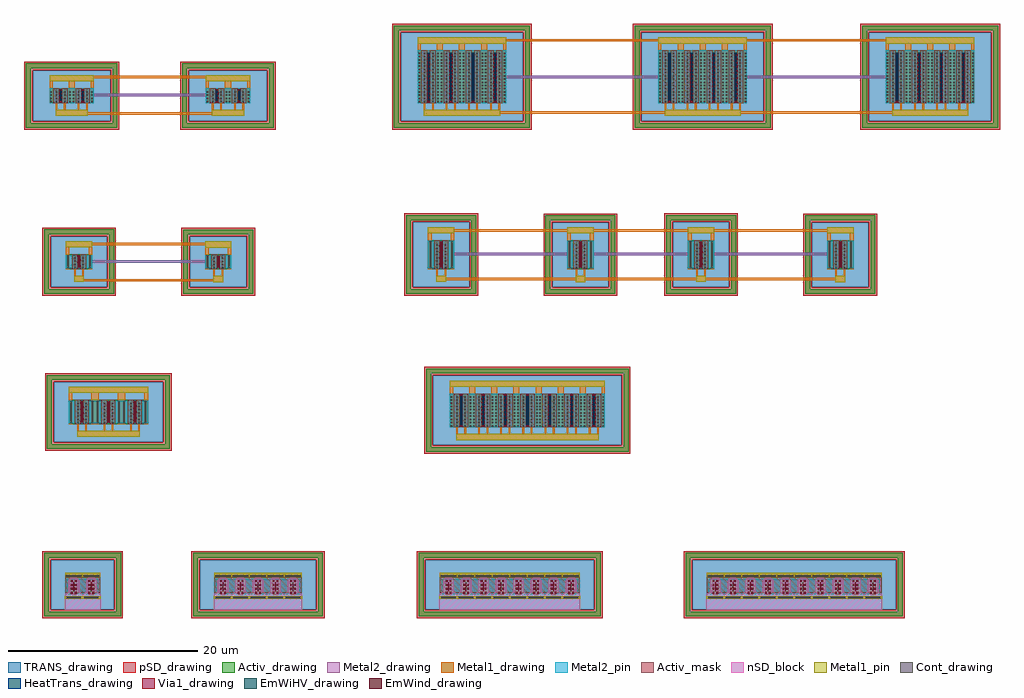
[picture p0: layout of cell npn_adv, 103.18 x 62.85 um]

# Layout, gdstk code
import gdstk
lib = gdstk.Library(unit=1e-6, precision=1e-09)
def R(c, l, rs):  # rectangles x0, y0, x1, y1
    for r in rs: c.add(gdstk.rectangle(r[:2], r[2:], *l))
def A(c, l, x, y, w, h, nx, ny, dx, dy):  # array of equal rectangles
    R(c, l, [(x+i*dx, y+j*dy, x+i*dx+w, y+j*dy+h) for i in range(nx) for j in range(ny)])
def P(c, l, *ps):  # polygons
    for p in ps: c.add(gdstk.Polygon(p, *l))
Activ_drawing = (1, 0)
Activ_mask = (1, 20)
Cont_drawing = (6, 0)
nSD_block = (7, 21)
Metal1_drawing = (8, 0)
Metal1_pin = (8, 2)
Metal2_drawing = (10, 0)
Metal2_pin = (10, 2)
pSD_drawing = (14, 0)
Via1_drawing = (19, 0)
TRANS_drawing = (26, 0)
EmWind_drawing = (33, 0)
HeatTrans_drawing = (51, 0)
EmWiHV_drawing = (156, 0)

npn13g2l_1 = lib.new_cell('npn13G2L$1')
R(npn13g2l_1, Activ_drawing, [(2.5,2.82,3.16,5.88), (3.77,2.82,4.03,5.88), (4.64,2.82,5.3,5.88)])
P(npn13g2l_1, Activ_drawing, [(0.2,0.2),(0.2,8),(0.7,8),(0.7,0.7),(7.1,0.7),(7.1,8),(0.2,8),(0.2,8.5),(7.6,8.5),(7.6,0.2)])
R(npn13g2l_1, Activ_mask, [(3.16,2.82,3.77,5.88), (4.03,2.82,4.64,5.88)])
A(npn13g2l_1, Cont_drawing, 3.385, 2.89, 0.16, 0.16, 1, 8, 0, 0.34)
A(npn13g2l_1, Cont_drawing, 4.255, 2.89, 0.16, 0.16, 1, 8, 0, 0.34)
A(npn13g2l_1, Cont_drawing, 2.68, 2.95, 0.16, 2.8, 3, 1, 1.14, 0)
R(npn13g2l_1, Metal1_drawing, [(3.385,1.45,4.415,2.1), (3.385,2.1,3.545,5.88), (4.255,2.1,4.415,5.88), (2.5,2.82,2.89,6.6), (4.91,2.82,5.3,6.6), (3.77,2.9,4.03,5.8), (2.5,6.6,5.3,7.25)])
R(npn13g2l_1, Metal1_pin, [(3.385,1.45,4.415,2.1), (2.5,6.6,5.3,7.25)])
R(npn13g2l_1, Metal2_drawing, [(2.5,2.9,5.3,5.8)])
R(npn13g2l_1, Metal2_pin, [(2.5,2.9,5.3,5.8)])
P(npn13g2l_1, pSD_drawing, [(0,0),(0,7.8),(0.9,7.8),(0.9,0.9),(6.9,0.9),(6.9,7.8),(0,7.8),(0,8.7),(7.8,8.7),(7.8,0)])
R(npn13g2l_1, Via1_drawing, [(3.805,3,3.995,5.7)])
R(npn13g2l_1, TRANS_drawing, [(0.9,0.9,6.9,7.8)])
R(npn13g2l_1, EmWind_drawing, [(3.865,3.1,3.935,5.6)])
R(npn13g2l_1, HeatTrans_drawing, [(3.815,3.05,3.985,5.65)])
npn13g2l_1.add(gdstk.Label('Ae=1*1*2.50*0.07', (1.5,1), layer=63, texttype=0))
npn13g2l_1.add(gdstk.Label('npn13G2L', (1.75,1), layer=63, texttype=0))
npn13g2l_1.add(gdstk.Label('C', (3.9,6.925), layer=63, texttype=0))
npn13g2l_1.add(gdstk.Label('B', (3.9,1.775), layer=63, texttype=0))
npn13g2l_1.add(gdstk.Label('E', (3.9,4.35), layer=63, texttype=0))
npn13g2l_1.add(gdstk.Label('npn13G2L', (3.9,4.35), layer=51, texttype=0))

npn13g2_2 = lib.new_cell('npn13G2$2')
R(npn13g2_2, Activ_drawing, [(-0.925,0.98,0.925,1.28), (0.925,0.98,2.775,1.28)])
P(npn13g2_2, Activ_drawing, [(-3.15,-3.13),(-3.15,3.58),(4.5,3.58),(4.5,3.08),(-2.65,3.08),(-2.65,-2.63),(4.5,-2.63),(4.5,3.58),(5,3.58),(5,-3.13)])
P(npn13g2_2, Activ_mask, [(-0.235,-0.83),(-0.445,-0.62),(-0.925,-0.62),(-0.925,0.98),(0.925,0.98),(0.925,-0.62),(0.445,-0.62),(0.235,-0.83)],
  [(1.615,-0.83),(1.405,-0.62),(0.925,-0.62),(0.925,0.98),(2.775,0.98),(2.775,-0.62),(2.295,-0.62),(2.085,-0.83)])
R(npn13g2_2, Cont_drawing, [(-0.76,-1.22,0.76,-1.06), (1.09,-1.22,2.61,-1.06), (-0.825,1.05,0.825,1.21), (1.025,1.05,2.675,1.21)])
P(npn13g2_2, nSD_block, [(-0.975,-2.43),(-0.975,-0.9),(-0.555,-0.48),(-0.555,0.69),(-0.305,0.94),(0.305,0.94),(0.555,0.69),(0.555,-0.48),(0.975,-0.9),(0.975,-2.43)],
  [(0.875,-2.43),(0.875,-0.9),(1.295,-0.48),(1.295,0.69),(1.545,0.94),(2.155,0.94),(2.405,0.69),(2.405,-0.48),(2.825,-0.9),(2.825,-2.43)])
R(npn13g2_2, Metal1_drawing, [(-0.975,-1.26,2.825,-1.02), (-0.35,-0.785,0.35,0.77), (1.5,-0.785,2.2,0.77), (-0.925,1.02,2.775,1.46)])
R(npn13g2_2, Metal1_pin, [(-0.975,-1.26,2.825,-1.02), (-0.925,1.02,2.775,1.46)])
R(npn13g2_2, Metal2_drawing, [(-0.925,-0.785,2.775,0.77)])
R(npn13g2_2, Metal2_pin, [(-0.745,-0.785,2.595,0.77)])
P(npn13g2_2, pSD_drawing, [(-3.35,-3.33),(-3.35,3.78),(4.3,3.78),(4.3,2.88),(-2.45,2.88),(-2.45,-2.43),(4.3,-2.43),(4.3,3.78),(5.2,3.78),(5.2,-3.33)])
A(npn13g2_2, Via1_drawing, -0.3, -0.72, 0.19, 0.19, 1, 4, 0, 0.41)
A(npn13g2_2, Via1_drawing, 0.11, -0.72, 0.19, 0.19, 1, 4, 0, 0.41)
A(npn13g2_2, Via1_drawing, 1.55, -0.72, 0.19, 0.19, 1, 4, 0, 0.41)
A(npn13g2_2, Via1_drawing, 1.96, -0.72, 0.19, 0.19, 1, 4, 0, 0.41)
R(npn13g2_2, TRANS_drawing, [(-2.45,-2.43,4.3,2.88)])
R(npn13g2_2, EmWind_drawing, [(-0.035,-0.45,0.035,0.45), (1.815,-0.45,1.885,0.45)])
npn13g2_2.add(gdstk.Label('npn13G2', (0.015,2.31), layer=63, texttype=0))
npn13g2_2.add(gdstk.Label('C', (0.925,1.24), layer=63, texttype=0))
npn13g2_2.add(gdstk.Label('B', (0.925,-1.14), layer=63, texttype=0))
npn13g2_2.add(gdstk.Label('E', (0.925,-0.007), layer=63, texttype=0))
npn13g2_2.add(gdstk.Label('Ae=2*1*0.07*0.90', (-1.977,-2.546), layer=63, texttype=0))

npn13g2 = lib.new_cell('npn13G2')
A(npn13g2, Activ_drawing, -0.925, 0.98, 1.85, 0.3, 5, 1, 1.85, 0)
P(npn13g2, Activ_drawing, [(-3.15,-3.13),(-3.15,3.58),(10.05,3.58),(10.05,3.08),(-2.65,3.08),(-2.65,-2.63),(10.05,-2.63),(10.05,3.58),(10.55,3.58),(10.55,-3.13)])
P(npn13g2, Activ_mask, [(-0.235,-0.83),(-0.445,-0.62),(-0.925,-0.62),(-0.925,0.98),(0.925,0.98),(0.925,-0.62),(0.445,-0.62),(0.235,-0.83)],
  [(1.615,-0.83),(1.405,-0.62),(0.925,-0.62),(0.925,0.98),(2.775,0.98),(2.775,-0.62),(2.295,-0.62),(2.085,-0.83)],
  [(3.465,-0.83),(3.255,-0.62),(2.775,-0.62),(2.775,0.98),(4.625,0.98),(4.625,-0.62),(4.145,-0.62),(3.935,-0.83)],
  [(5.315,-0.83),(5.105,-0.62),(4.625,-0.62),(4.625,0.98),(6.475,0.98),(6.475,-0.62),(5.995,-0.62),(5.785,-0.83)],
  [(7.165,-0.83),(6.955,-0.62),(6.475,-0.62),(6.475,0.98),(8.325,0.98),(8.325,-0.62),(7.845,-0.62),(7.635,-0.83)])
A(npn13g2, Cont_drawing, -0.76, -1.22, 1.52, 0.16, 5, 1, 1.85, 0)
A(npn13g2, Cont_drawing, -0.825, 1.05, 1.65, 0.16, 5, 1, 1.85, 0)
P(npn13g2, nSD_block, [(-0.975,-2.43),(-0.975,-0.9),(-0.555,-0.48),(-0.555,0.69),(-0.305,0.94),(0.305,0.94),(0.555,0.69),(0.555,-0.48),(0.975,-0.9),(0.975,-2.43)],
  [(0.875,-2.43),(0.875,-0.9),(1.295,-0.48),(1.295,0.69),(1.545,0.94),(2.155,0.94),(2.405,0.69),(2.405,-0.48),(2.825,-0.9),(2.825,-2.43)],
  [(2.725,-2.43),(2.725,-0.9),(3.145,-0.48),(3.145,0.69),(3.395,0.94),(4.005,0.94),(4.255,0.69),(4.255,-0.48),(4.675,-0.9),(4.675,-2.43)],
  [(4.575,-2.43),(4.575,-0.9),(4.995,-0.48),(4.995,0.69),(5.245,0.94),(5.855,0.94),(6.105,0.69),(6.105,-0.48),(6.525,-0.9),(6.525,-2.43)],
  [(6.425,-2.43),(6.425,-0.9),(6.845,-0.48),(6.845,0.69),(7.095,0.94),(7.705,0.94),(7.955,0.69),(7.955,-0.48),(8.375,-0.9),(8.375,-2.43)])
A(npn13g2, Metal1_drawing, -0.35, -0.785, 0.7, 1.555, 5, 1, 1.85, 0)
R(npn13g2, Metal1_drawing, [(-0.975,-1.26,8.375,-1.02), (-0.925,1.02,8.325,1.46)])
R(npn13g2, Metal1_pin, [(-0.975,-1.26,8.375,-1.02), (-0.925,1.02,8.325,1.46)])
R(npn13g2, Metal2_drawing, [(-0.925,-0.785,8.325,0.77)])
R(npn13g2, Metal2_pin, [(-0.745,-0.785,8.145,0.77)])
P(npn13g2, pSD_drawing, [(-3.35,-3.33),(-3.35,3.78),(9.85,3.78),(9.85,2.88),(-2.45,2.88),(-2.45,-2.43),(9.85,-2.43),(9.85,3.78),(10.75,3.78),(10.75,-3.33)])
A(npn13g2, Via1_drawing, -0.3, -0.72, 0.19, 0.19, 1, 4, 0, 0.41)
A(npn13g2, Via1_drawing, 0.11, -0.72, 0.19, 0.19, 1, 4, 0, 0.41)
A(npn13g2, Via1_drawing, 1.55, -0.72, 0.19, 0.19, 1, 4, 0, 0.41)
A(npn13g2, Via1_drawing, 1.96, -0.72, 0.19, 0.19, 1, 4, 0, 0.41)
A(npn13g2, Via1_drawing, 3.4, -0.72, 0.19, 0.19, 1, 4, 0, 0.41)
A(npn13g2, Via1_drawing, 3.81, -0.72, 0.19, 0.19, 1, 4, 0, 0.41)
A(npn13g2, Via1_drawing, 5.25, -0.72, 0.19, 0.19, 1, 4, 0, 0.41)
A(npn13g2, Via1_drawing, 5.66, -0.72, 0.19, 0.19, 1, 4, 0, 0.41)
A(npn13g2, Via1_drawing, 7.1, -0.72, 0.19, 0.19, 1, 4, 0, 0.41)
A(npn13g2, Via1_drawing, 7.51, -0.72, 0.19, 0.19, 1, 4, 0, 0.41)
R(npn13g2, TRANS_drawing, [(-2.45,-2.43,9.85,2.88)])
A(npn13g2, EmWind_drawing, -0.035, -0.45, 0.07, 0.9, 5, 1, 1.85, 0)
npn13g2.add(gdstk.Label('npn13G2', (0.015,2.31), layer=63, texttype=0))
npn13g2.add(gdstk.Label('C', (3.7,1.24), layer=63, texttype=0))
npn13g2.add(gdstk.Label('B', (3.7,-1.14), layer=63, texttype=0))
npn13g2.add(gdstk.Label('E', (3.7,-0.007), layer=63, texttype=0))
npn13g2.add(gdstk.Label('Ae=5*1*0.07*0.90', (-1.977,-2.546), layer=63, texttype=0))

npn13g2_3 = lib.new_cell('npn13G2$3')
A(npn13g2_3, Activ_drawing, -0.925, 0.98, 1.85, 0.3, 8, 1, 1.85, 0)
P(npn13g2_3, Activ_drawing, [(-3.15,-3.13),(-3.15,3.58),(15.6,3.58),(15.6,3.08),(-2.65,3.08),(-2.65,-2.63),(15.6,-2.63),(15.6,3.58),(16.1,3.58),(16.1,-3.13)])
P(npn13g2_3, Activ_mask, [(-0.235,-0.83),(-0.445,-0.62),(-0.925,-0.62),(-0.925,0.98),(0.925,0.98),(0.925,-0.62),(0.445,-0.62),(0.235,-0.83)],
  [(1.615,-0.83),(1.405,-0.62),(0.925,-0.62),(0.925,0.98),(2.775,0.98),(2.775,-0.62),(2.295,-0.62),(2.085,-0.83)],
  [(3.465,-0.83),(3.255,-0.62),(2.775,-0.62),(2.775,0.98),(4.625,0.98),(4.625,-0.62),(4.145,-0.62),(3.935,-0.83)],
  [(5.315,-0.83),(5.105,-0.62),(4.625,-0.62),(4.625,0.98),(6.475,0.98),(6.475,-0.62),(5.995,-0.62),(5.785,-0.83)],
  [(7.165,-0.83),(6.955,-0.62),(6.475,-0.62),(6.475,0.98),(8.325,0.98),(8.325,-0.62),(7.845,-0.62),(7.635,-0.83)],
  [(9.015,-0.83),(8.805,-0.62),(8.325,-0.62),(8.325,0.98),(10.175,0.98),(10.175,-0.62),(9.695,-0.62),(9.485,-0.83)],
  [(10.865,-0.83),(10.655,-0.62),(10.175,-0.62),(10.175,0.98),(12.025,0.98),(12.025,-0.62),(11.545,-0.62),(11.335,-0.83)],
  [(12.715,-0.83),(12.505,-0.62),(12.025,-0.62),(12.025,0.98),(13.875,0.98),(13.875,-0.62),(13.395,-0.62),(13.185,-0.83)])
A(npn13g2_3, Cont_drawing, -0.76, -1.22, 1.52, 0.16, 8, 1, 1.85, 0)
A(npn13g2_3, Cont_drawing, -0.825, 1.05, 1.65, 0.16, 8, 1, 1.85, 0)
P(npn13g2_3, nSD_block, [(-0.975,-2.43),(-0.975,-0.9),(-0.555,-0.48),(-0.555,0.69),(-0.305,0.94),(0.305,0.94),(0.555,0.69),(0.555,-0.48),(0.975,-0.9),(0.975,-2.43)],
  [(0.875,-2.43),(0.875,-0.9),(1.295,-0.48),(1.295,0.69),(1.545,0.94),(2.155,0.94),(2.405,0.69),(2.405,-0.48),(2.825,-0.9),(2.825,-2.43)],
  [(2.725,-2.43),(2.725,-0.9),(3.145,-0.48),(3.145,0.69),(3.395,0.94),(4.005,0.94),(4.255,0.69),(4.255,-0.48),(4.675,-0.9),(4.675,-2.43)],
  [(4.575,-2.43),(4.575,-0.9),(4.995,-0.48),(4.995,0.69),(5.245,0.94),(5.855,0.94),(6.105,0.69),(6.105,-0.48),(6.525,-0.9),(6.525,-2.43)],
  [(6.425,-2.43),(6.425,-0.9),(6.845,-0.48),(6.845,0.69),(7.095,0.94),(7.705,0.94),(7.955,0.69),(7.955,-0.48),(8.375,-0.9),(8.375,-2.43)],
  [(8.275,-2.43),(8.275,-0.9),(8.695,-0.48),(8.695,0.69),(8.945,0.94),(9.555,0.94),(9.805,0.69),(9.805,-0.48),(10.225,-0.9),(10.225,-2.43)],
  [(10.125,-2.43),(10.125,-0.9),(10.545,-0.48),(10.545,0.69),(10.795,0.94),(11.405,0.94),(11.655,0.69),(11.655,-0.48),(12.075,-0.9),(12.075,-2.43)],
  [(11.975,-2.43),(11.975,-0.9),(12.395,-0.48),(12.395,0.69),(12.645,0.94),(13.255,0.94),(13.505,0.69),(13.505,-0.48),(13.925,-0.9),(13.925,-2.43)])
A(npn13g2_3, Metal1_drawing, -0.35, -0.785, 0.7, 1.555, 8, 1, 1.85, 0)
R(npn13g2_3, Metal1_drawing, [(-0.975,-1.26,13.925,-1.02), (-0.925,1.02,13.875,1.46)])
R(npn13g2_3, Metal1_pin, [(-0.975,-1.26,13.925,-1.02), (-0.925,1.02,13.875,1.46)])
R(npn13g2_3, Metal2_drawing, [(-0.925,-0.785,13.875,0.77)])
R(npn13g2_3, Metal2_pin, [(-0.745,-0.785,13.695,0.77)])
P(npn13g2_3, pSD_drawing, [(-3.35,-3.33),(-3.35,3.78),(15.4,3.78),(15.4,2.88),(-2.45,2.88),(-2.45,-2.43),(15.4,-2.43),(15.4,3.78),(16.3,3.78),(16.3,-3.33)])
A(npn13g2_3, Via1_drawing, -0.3, -0.72, 0.19, 0.19, 1, 4, 0, 0.41)
A(npn13g2_3, Via1_drawing, 0.11, -0.72, 0.19, 0.19, 1, 4, 0, 0.41)
A(npn13g2_3, Via1_drawing, 1.55, -0.72, 0.19, 0.19, 1, 4, 0, 0.41)
A(npn13g2_3, Via1_drawing, 1.96, -0.72, 0.19, 0.19, 1, 4, 0, 0.41)
A(npn13g2_3, Via1_drawing, 3.4, -0.72, 0.19, 0.19, 1, 4, 0, 0.41)
A(npn13g2_3, Via1_drawing, 3.81, -0.72, 0.19, 0.19, 1, 4, 0, 0.41)
A(npn13g2_3, Via1_drawing, 5.25, -0.72, 0.19, 0.19, 1, 4, 0, 0.41)
A(npn13g2_3, Via1_drawing, 5.66, -0.72, 0.19, 0.19, 1, 4, 0, 0.41)
A(npn13g2_3, Via1_drawing, 7.1, -0.72, 0.19, 0.19, 1, 4, 0, 0.41)
A(npn13g2_3, Via1_drawing, 7.51, -0.72, 0.19, 0.19, 1, 4, 0, 0.41)
A(npn13g2_3, Via1_drawing, 8.95, -0.72, 0.19, 0.19, 1, 4, 0, 0.41)
A(npn13g2_3, Via1_drawing, 9.36, -0.72, 0.19, 0.19, 1, 4, 0, 0.41)
A(npn13g2_3, Via1_drawing, 10.8, -0.72, 0.19, 0.19, 1, 4, 0, 0.41)
A(npn13g2_3, Via1_drawing, 11.21, -0.72, 0.19, 0.19, 1, 4, 0, 0.41)
A(npn13g2_3, Via1_drawing, 12.65, -0.72, 0.19, 0.19, 1, 4, 0, 0.41)
A(npn13g2_3, Via1_drawing, 13.06, -0.72, 0.19, 0.19, 1, 4, 0, 0.41)
R(npn13g2_3, TRANS_drawing, [(-2.45,-2.43,15.4,2.88)])
A(npn13g2_3, EmWind_drawing, -0.035, -0.45, 0.07, 0.9, 8, 1, 1.85, 0)
npn13g2_3.add(gdstk.Label('npn13G2', (0.015,2.31), layer=63, texttype=0))
npn13g2_3.add(gdstk.Label('C', (6.475,1.24), layer=63, texttype=0))
npn13g2_3.add(gdstk.Label('B', (6.475,-1.14), layer=63, texttype=0))
npn13g2_3.add(gdstk.Label('E', (6.475,-0.007), layer=63, texttype=0))
npn13g2_3.add(gdstk.Label('Ae=8*1*0.07*0.90', (-1.977,-2.546), layer=63, texttype=0))

npn13g2_4 = lib.new_cell('npn13G2$4')
A(npn13g2_4, Activ_drawing, -0.925, 0.98, 1.85, 0.3, 10, 1, 1.85, 0)
P(npn13g2_4, Activ_drawing, [(-3.15,-3.13),(-3.15,3.58),(19.3,3.58),(19.3,3.08),(-2.65,3.08),(-2.65,-2.63),(19.3,-2.63),(19.3,3.58),(19.8,3.58),(19.8,-3.13)])
P(npn13g2_4, Activ_mask, [(-0.235,-0.83),(-0.445,-0.62),(-0.925,-0.62),(-0.925,0.98),(0.925,0.98),(0.925,-0.62),(0.445,-0.62),(0.235,-0.83)],
  [(1.615,-0.83),(1.405,-0.62),(0.925,-0.62),(0.925,0.98),(2.775,0.98),(2.775,-0.62),(2.295,-0.62),(2.085,-0.83)],
  [(3.465,-0.83),(3.255,-0.62),(2.775,-0.62),(2.775,0.98),(4.625,0.98),(4.625,-0.62),(4.145,-0.62),(3.935,-0.83)],
  [(5.315,-0.83),(5.105,-0.62),(4.625,-0.62),(4.625,0.98),(6.475,0.98),(6.475,-0.62),(5.995,-0.62),(5.785,-0.83)],
  [(7.165,-0.83),(6.955,-0.62),(6.475,-0.62),(6.475,0.98),(8.325,0.98),(8.325,-0.62),(7.845,-0.62),(7.635,-0.83)],
  [(9.015,-0.83),(8.805,-0.62),(8.325,-0.62),(8.325,0.98),(10.175,0.98),(10.175,-0.62),(9.695,-0.62),(9.485,-0.83)],
  [(10.865,-0.83),(10.655,-0.62),(10.175,-0.62),(10.175,0.98),(12.025,0.98),(12.025,-0.62),(11.545,-0.62),(11.335,-0.83)],
  [(12.715,-0.83),(12.505,-0.62),(12.025,-0.62),(12.025,0.98),(13.875,0.98),(13.875,-0.62),(13.395,-0.62),(13.185,-0.83)],
  [(14.565,-0.83),(14.355,-0.62),(13.875,-0.62),(13.875,0.98),(15.725,0.98),(15.725,-0.62),(15.245,-0.62),(15.035,-0.83)],
  [(16.415,-0.83),(16.205,-0.62),(15.725,-0.62),(15.725,0.98),(17.575,0.98),(17.575,-0.62),(17.095,-0.62),(16.885,-0.83)])
A(npn13g2_4, Cont_drawing, -0.76, -1.22, 1.52, 0.16, 10, 1, 1.85, 0)
A(npn13g2_4, Cont_drawing, -0.825, 1.05, 1.65, 0.16, 10, 1, 1.85, 0)
P(npn13g2_4, nSD_block, [(-0.975,-2.43),(-0.975,-0.9),(-0.555,-0.48),(-0.555,0.69),(-0.305,0.94),(0.305,0.94),(0.555,0.69),(0.555,-0.48),(0.975,-0.9),(0.975,-2.43)],
  [(0.875,-2.43),(0.875,-0.9),(1.295,-0.48),(1.295,0.69),(1.545,0.94),(2.155,0.94),(2.405,0.69),(2.405,-0.48),(2.825,-0.9),(2.825,-2.43)],
  [(2.725,-2.43),(2.725,-0.9),(3.145,-0.48),(3.145,0.69),(3.395,0.94),(4.005,0.94),(4.255,0.69),(4.255,-0.48),(4.675,-0.9),(4.675,-2.43)],
  [(4.575,-2.43),(4.575,-0.9),(4.995,-0.48),(4.995,0.69),(5.245,0.94),(5.855,0.94),(6.105,0.69),(6.105,-0.48),(6.525,-0.9),(6.525,-2.43)],
  [(6.425,-2.43),(6.425,-0.9),(6.845,-0.48),(6.845,0.69),(7.095,0.94),(7.705,0.94),(7.955,0.69),(7.955,-0.48),(8.375,-0.9),(8.375,-2.43)],
  [(8.275,-2.43),(8.275,-0.9),(8.695,-0.48),(8.695,0.69),(8.945,0.94),(9.555,0.94),(9.805,0.69),(9.805,-0.48),(10.225,-0.9),(10.225,-2.43)],
  [(10.125,-2.43),(10.125,-0.9),(10.545,-0.48),(10.545,0.69),(10.795,0.94),(11.405,0.94),(11.655,0.69),(11.655,-0.48),(12.075,-0.9),(12.075,-2.43)],
  [(11.975,-2.43),(11.975,-0.9),(12.395,-0.48),(12.395,0.69),(12.645,0.94),(13.255,0.94),(13.505,0.69),(13.505,-0.48),(13.925,-0.9),(13.925,-2.43)],
  [(13.825,-2.43),(13.825,-0.9),(14.245,-0.48),(14.245,0.69),(14.495,0.94),(15.105,0.94),(15.355,0.69),(15.355,-0.48),(15.775,-0.9),(15.775,-2.43)],
  [(15.675,-2.43),(15.675,-0.9),(16.095,-0.48),(16.095,0.69),(16.345,0.94),(16.955,0.94),(17.205,0.69),(17.205,-0.48),(17.625,-0.9),(17.625,-2.43)])
A(npn13g2_4, Metal1_drawing, -0.35, -0.785, 0.7, 1.555, 10, 1, 1.85, 0)
R(npn13g2_4, Metal1_drawing, [(-0.975,-1.26,17.625,-1.02), (-0.925,1.02,17.575,1.46)])
R(npn13g2_4, Metal1_pin, [(-0.975,-1.26,17.625,-1.02), (-0.925,1.02,17.575,1.46)])
R(npn13g2_4, Metal2_drawing, [(-0.925,-0.785,17.575,0.77)])
R(npn13g2_4, Metal2_pin, [(-0.745,-0.785,17.395,0.77)])
P(npn13g2_4, pSD_drawing, [(-3.35,-3.33),(-3.35,3.78),(19.1,3.78),(19.1,2.88),(-2.45,2.88),(-2.45,-2.43),(19.1,-2.43),(19.1,3.78),(20,3.78),(20,-3.33)])
A(npn13g2_4, Via1_drawing, -0.3, -0.72, 0.19, 0.19, 1, 4, 0, 0.41)
A(npn13g2_4, Via1_drawing, 0.11, -0.72, 0.19, 0.19, 1, 4, 0, 0.41)
A(npn13g2_4, Via1_drawing, 1.55, -0.72, 0.19, 0.19, 1, 4, 0, 0.41)
A(npn13g2_4, Via1_drawing, 1.96, -0.72, 0.19, 0.19, 1, 4, 0, 0.41)
A(npn13g2_4, Via1_drawing, 3.4, -0.72, 0.19, 0.19, 1, 4, 0, 0.41)
A(npn13g2_4, Via1_drawing, 3.81, -0.72, 0.19, 0.19, 1, 4, 0, 0.41)
A(npn13g2_4, Via1_drawing, 5.25, -0.72, 0.19, 0.19, 1, 4, 0, 0.41)
A(npn13g2_4, Via1_drawing, 5.66, -0.72, 0.19, 0.19, 1, 4, 0, 0.41)
A(npn13g2_4, Via1_drawing, 7.1, -0.72, 0.19, 0.19, 1, 4, 0, 0.41)
A(npn13g2_4, Via1_drawing, 7.51, -0.72, 0.19, 0.19, 1, 4, 0, 0.41)
A(npn13g2_4, Via1_drawing, 8.95, -0.72, 0.19, 0.19, 1, 4, 0, 0.41)
A(npn13g2_4, Via1_drawing, 9.36, -0.72, 0.19, 0.19, 1, 4, 0, 0.41)
A(npn13g2_4, Via1_drawing, 10.8, -0.72, 0.19, 0.19, 1, 4, 0, 0.41)
A(npn13g2_4, Via1_drawing, 11.21, -0.72, 0.19, 0.19, 1, 4, 0, 0.41)
A(npn13g2_4, Via1_drawing, 12.65, -0.72, 0.19, 0.19, 1, 4, 0, 0.41)
A(npn13g2_4, Via1_drawing, 13.06, -0.72, 0.19, 0.19, 1, 4, 0, 0.41)
A(npn13g2_4, Via1_drawing, 14.5, -0.72, 0.19, 0.19, 1, 4, 0, 0.41)
A(npn13g2_4, Via1_drawing, 14.91, -0.72, 0.19, 0.19, 1, 4, 0, 0.41)
A(npn13g2_4, Via1_drawing, 16.35, -0.72, 0.19, 0.19, 1, 4, 0, 0.41)
A(npn13g2_4, Via1_drawing, 16.76, -0.72, 0.19, 0.19, 1, 4, 0, 0.41)
R(npn13g2_4, TRANS_drawing, [(-2.45,-2.43,19.1,2.88)])
A(npn13g2_4, EmWind_drawing, -0.035, -0.45, 0.07, 0.9, 10, 1, 1.85, 0)
npn13g2_4.add(gdstk.Label('npn13G2', (0.015,2.31), layer=63, texttype=0))
npn13g2_4.add(gdstk.Label('C', (8.325,1.24), layer=63, texttype=0))
npn13g2_4.add(gdstk.Label('B', (8.325,-1.14), layer=63, texttype=0))
npn13g2_4.add(gdstk.Label('E', (8.325,-0.007), layer=63, texttype=0))
npn13g2_4.add(gdstk.Label('Ae=10*1*0.07*0.90', (-1.977,-2.546), layer=63, texttype=0))

npn13g2v_1 = lib.new_cell('npn13G2V$1')
R(npn13g2v_1, Activ_drawing, [(2.7,2.82,3.105,4.38), (3.74,2.82,4,4.38), (4.635,2.82,5.04,4.38), (5.04,2.82,5.445,4.38), (6.08,2.82,6.34,4.38), (6.975,2.82,7.38,4.38)])
P(npn13g2v_1, Activ_drawing, [(0.2,0.2),(0.2,6.5),(0.7,6.5),(0.7,0.7),(9.38,0.7),(9.38,6.5),(0.2,6.5),(0.2,7),(9.88,7),(9.88,0.2)])
R(npn13g2v_1, Activ_mask, [(3.105,2.82,3.74,4.38), (4,2.82,4.635,4.38), (5.445,2.82,6.08,4.38), (6.34,2.82,6.975,4.38)])
A(npn13g2v_1, Cont_drawing, 2.8, 2.89, 0.16, 0.16, 1, 4, 0, 0.34)
A(npn13g2v_1, Cont_drawing, 3.35, 2.89, 0.16, 0.16, 1, 4, 0, 0.34)
A(npn13g2v_1, Cont_drawing, 4.23, 2.89, 0.16, 0.16, 1, 4, 0, 0.34)
A(npn13g2v_1, Cont_drawing, 4.78, 2.89, 0.16, 0.16, 1, 4, 0, 0.34)
A(npn13g2v_1, Cont_drawing, 5.14, 2.89, 0.16, 0.16, 1, 4, 0, 0.34)
A(npn13g2v_1, Cont_drawing, 5.69, 2.89, 0.16, 0.16, 1, 4, 0, 0.34)
A(npn13g2v_1, Cont_drawing, 6.57, 2.89, 0.16, 0.16, 1, 4, 0, 0.34)
A(npn13g2v_1, Cont_drawing, 7.12, 2.89, 0.16, 0.16, 1, 4, 0, 0.34)
R(npn13g2v_1, Cont_drawing, [(3.79,3.04,3.95,4.16), (6.13,3.04,6.29,4.16)])
R(npn13g2v_1, Metal1_drawing, [(3.345,1.45,4.395,2.1), (4.395,1.45,5.685,2.1), (5.685,1.45,6.735,2.1), (3.345,2.1,3.515,4.38), (4.225,2.1,4.395,4.38), (5.685,2.1,5.855,4.38), (6.565,2.1,6.735,4.38), (2.7,2.82,3.02,5.1), (3.74,2.82,4,4.38), (4.72,2.82,5.04,5.1), (5.04,2.82,5.36,5.1), (6.08,2.82,6.34,4.38), (7.06,2.82,7.38,5.1), (2.7,5.1,5.04,5.75), (5.04,5.1,7.38,5.75)])
R(npn13g2v_1, Metal1_pin, [(3.345,1.45,6.735,2.1), (2.7,5.1,7.38,5.75)])
R(npn13g2v_1, Metal2_drawing, [(2.7,2.82,5.04,4.38), (5.04,2.82,7.38,4.38)])
R(npn13g2v_1, Metal2_pin, [(2.7,2.82,7.38,4.38)])
P(npn13g2v_1, pSD_drawing, [(0,0),(0,6.3),(0.9,6.3),(0.9,0.9),(9.18,0.9),(9.18,6.3),(0,6.3),(0,7.2),(10.08,7.2),(10.08,0)])
A(npn13g2v_1, Via1_drawing, 3.775, 2.87, 0.19, 0.19, 1, 4, 0, 0.41)
A(npn13g2v_1, Via1_drawing, 6.115, 2.87, 0.19, 0.19, 1, 4, 0, 0.41)
R(npn13g2v_1, TRANS_drawing, [(0.9,0.9,9.18,6.3)])
R(npn13g2v_1, HeatTrans_drawing, [(3.76,3.05,3.98,4.15), (6.1,3.05,6.32,4.15)])
R(npn13g2v_1, EmWiHV_drawing, [(3.81,3.1,3.93,4.1), (6.15,3.1,6.27,4.1)])
npn13g2v_1.add(gdstk.Label('Ae=2*1.00*0.12', (1.5,1), layer=63, texttype=0))
npn13g2v_1.add(gdstk.Label('npn13G2V', (1.75,1), layer=63, texttype=0))
npn13g2v_1.add(gdstk.Label('C', (5.04,5.425), layer=63, texttype=0))
npn13g2v_1.add(gdstk.Label('B', (5.04,1.775), layer=63, texttype=0))
npn13g2v_1.add(gdstk.Label('E', (5.04,3.6), layer=63, texttype=0))
npn13g2v_1.add(gdstk.Label('npn13G2V', (3.87,3.6), layer=51, texttype=0))

npn13g2v_2 = lib.new_cell('npn13G2V$2')
A(npn13g2v_2, Activ_drawing, 3.74, 2.82, 0.26, 5.56, 4, 1, 2.34, 0)
R(npn13g2v_2, Activ_drawing, [(2.7,2.82,3.105,8.38), (4.635,2.82,5.04,8.38), (5.04,2.82,5.445,8.38), (6.975,2.82,7.38,8.38), (7.38,2.82,7.785,8.38), (9.315,2.82,9.72,8.38), (9.72,2.82,10.125,8.38), (11.655,2.82,12.06,8.38)])
P(npn13g2v_2, Activ_drawing, [(0.2,0.2),(0.2,10.5),(0.7,10.5),(0.7,0.7),(14.06,0.7),(14.06,10.5),(0.2,10.5),(0.2,11),(14.56,11),(14.56,0.2)])
R(npn13g2v_2, Activ_mask, [(3.105,2.82,3.74,8.38), (4,2.82,4.635,8.38), (5.445,2.82,6.08,8.38), (6.34,2.82,6.975,8.38), (7.785,2.82,8.42,8.38), (8.68,2.82,9.315,8.38), (10.125,2.82,10.76,8.38), (11.02,2.82,11.655,8.38)])
A(npn13g2v_2, Cont_drawing, 2.8, 2.89, 0.16, 0.16, 1, 16, 0, 0.34)
A(npn13g2v_2, Cont_drawing, 3.35, 2.89, 0.16, 0.16, 1, 16, 0, 0.34)
A(npn13g2v_2, Cont_drawing, 4.23, 2.89, 0.16, 0.16, 1, 16, 0, 0.34)
A(npn13g2v_2, Cont_drawing, 4.78, 2.89, 0.16, 0.16, 1, 16, 0, 0.34)
A(npn13g2v_2, Cont_drawing, 5.14, 2.89, 0.16, 0.16, 1, 16, 0, 0.34)
A(npn13g2v_2, Cont_drawing, 5.69, 2.89, 0.16, 0.16, 1, 16, 0, 0.34)
A(npn13g2v_2, Cont_drawing, 6.57, 2.89, 0.16, 0.16, 1, 16, 0, 0.34)
A(npn13g2v_2, Cont_drawing, 7.12, 2.89, 0.16, 0.16, 1, 16, 0, 0.34)
A(npn13g2v_2, Cont_drawing, 7.48, 2.89, 0.16, 0.16, 1, 16, 0, 0.34)
A(npn13g2v_2, Cont_drawing, 8.03, 2.89, 0.16, 0.16, 1, 16, 0, 0.34)
A(npn13g2v_2, Cont_drawing, 8.91, 2.89, 0.16, 0.16, 1, 16, 0, 0.34)
A(npn13g2v_2, Cont_drawing, 9.46, 2.89, 0.16, 0.16, 1, 16, 0, 0.34)
A(npn13g2v_2, Cont_drawing, 9.82, 2.89, 0.16, 0.16, 1, 16, 0, 0.34)
A(npn13g2v_2, Cont_drawing, 10.37, 2.89, 0.16, 0.16, 1, 16, 0, 0.34)
A(npn13g2v_2, Cont_drawing, 11.25, 2.89, 0.16, 0.16, 1, 16, 0, 0.34)
A(npn13g2v_2, Cont_drawing, 11.8, 2.89, 0.16, 0.16, 1, 16, 0, 0.34)
A(npn13g2v_2, Cont_drawing, 3.79, 3.04, 0.16, 5.12, 4, 1, 2.34, 0)
A(npn13g2v_2, Metal1_drawing, 3.345, 1.45, 1.05, 0.65, 4, 1, 2.34, 0)
A(npn13g2v_2, Metal1_drawing, 4.395, 1.45, 1.29, 0.65, 3, 1, 2.34, 0)
A(npn13g2v_2, Metal1_drawing, 3.74, 2.82, 0.26, 5.56, 4, 1, 2.34, 0)
A(npn13g2v_2, Metal1_drawing, 2.7, 9.1, 2.34, 0.65, 4, 1, 2.34, 0)
R(npn13g2v_2, Metal1_drawing, [(3.345,2.1,3.515,8.38), (4.225,2.1,4.395,8.38), (5.685,2.1,5.855,8.38), (6.565,2.1,6.735,8.38), (8.025,2.1,8.195,8.38), (8.905,2.1,9.075,8.38), (10.365,2.1,10.535,8.38), (11.245,2.1,11.415,8.38), (2.7,2.82,3.02,9.1), (4.72,2.82,5.04,9.1), (5.04,2.82,5.36,9.1), (7.06,2.82,7.38,9.1), (7.38,2.82,7.7,9.1), (9.4,2.82,9.72,9.1), (9.72,2.82,10.04,9.1), (11.74,2.82,12.06,9.1)])
R(npn13g2v_2, Metal1_pin, [(3.345,1.45,11.415,2.1), (2.7,9.1,12.06,9.75)])
A(npn13g2v_2, Metal2_drawing, 2.7, 2.82, 2.34, 5.56, 4, 1, 2.34, 0)
R(npn13g2v_2, Metal2_pin, [(2.7,2.82,12.06,8.38)])
P(npn13g2v_2, pSD_drawing, [(0,0),(0,10.3),(0.9,10.3),(0.9,0.9),(13.86,0.9),(13.86,10.3),(0,10.3),(0,11.2),(14.76,11.2),(14.76,0)])
A(npn13g2v_2, Via1_drawing, 3.775, 2.87, 0.19, 0.19, 4, 13, 2.34, 0.41)
R(npn13g2v_2, TRANS_drawing, [(0.9,0.9,13.86,10.3)])
A(npn13g2v_2, HeatTrans_drawing, 3.76, 3.05, 0.22, 5.1, 4, 1, 2.34, 0)
A(npn13g2v_2, EmWiHV_drawing, 3.81, 3.1, 0.12, 5, 4, 1, 2.34, 0)
npn13g2v_2.add(gdstk.Label('Ae=4*5.00*0.12', (1.5,1), layer=63, texttype=0))
npn13g2v_2.add(gdstk.Label('npn13G2V', (1.75,1), layer=63, texttype=0))
npn13g2v_2.add(gdstk.Label('C', (7.38,9.425), layer=63, texttype=0))
npn13g2v_2.add(gdstk.Label('B', (7.38,1.775), layer=63, texttype=0))
npn13g2v_2.add(gdstk.Label('E', (7.38,5.6), layer=63, texttype=0))
npn13g2v_2.add(gdstk.Label('npn13G2V', (3.87,5.6), layer=51, texttype=0))

npn13g2l = lib.new_cell('npn13G2L')
R(npn13g2l, Activ_drawing, [(2.5,2.82,3.16,4.38), (3.77,2.82,4.03,4.38), (4.64,2.82,5.3,4.38)])
P(npn13g2l, Activ_drawing, [(0.2,0.2),(0.2,6.5),(0.7,6.5),(0.7,0.7),(7.1,0.7),(7.1,6.5),(0.2,6.5),(0.2,7),(7.6,7),(7.6,0.2)])
R(npn13g2l, Activ_mask, [(3.16,2.82,3.77,4.38), (4.03,2.82,4.64,4.38)])
A(npn13g2l, Cont_drawing, 3.385, 2.89, 0.16, 0.16, 1, 4, 0, 0.34)
A(npn13g2l, Cont_drawing, 4.255, 2.89, 0.16, 0.16, 1, 4, 0, 0.34)
A(npn13g2l, Cont_drawing, 2.68, 2.95, 0.16, 1.3, 3, 1, 1.14, 0)
R(npn13g2l, Metal1_drawing, [(3.385,1.45,4.415,2.1), (3.385,2.1,3.545,4.38), (4.255,2.1,4.415,4.38), (2.5,2.82,2.89,5.1), (4.91,2.82,5.3,5.1), (3.77,2.9,4.03,4.3), (2.5,5.1,5.3,5.75)])
R(npn13g2l, Metal1_pin, [(3.385,1.45,4.415,2.1), (2.5,5.1,5.3,5.75)])
R(npn13g2l, Metal2_drawing, [(2.5,2.9,5.3,4.3)])
R(npn13g2l, Metal2_pin, [(2.5,2.9,5.3,4.3)])
P(npn13g2l, pSD_drawing, [(0,0),(0,6.3),(0.9,6.3),(0.9,0.9),(6.9,0.9),(6.9,6.3),(0,6.3),(0,7.2),(7.8,7.2),(7.8,0)])
R(npn13g2l, Via1_drawing, [(3.805,3,3.995,4.2)])
R(npn13g2l, TRANS_drawing, [(0.9,0.9,6.9,6.3)])
R(npn13g2l, EmWind_drawing, [(3.865,3.1,3.935,4.1)])
R(npn13g2l, HeatTrans_drawing, [(3.815,3.05,3.985,4.15)])
npn13g2l.add(gdstk.Label('Ae=1*1*1.00*0.07', (1.5,1), layer=63, texttype=0))
npn13g2l.add(gdstk.Label('npn13G2L', (1.75,1), layer=63, texttype=0))
npn13g2l.add(gdstk.Label('C', (3.9,5.425), layer=63, texttype=0))
npn13g2l.add(gdstk.Label('B', (3.9,1.775), layer=63, texttype=0))
npn13g2l.add(gdstk.Label('E', (3.9,3.6), layer=63, texttype=0))
npn13g2l.add(gdstk.Label('npn13G2L', (3.9,3.6), layer=51, texttype=0))

npn13g2l_2 = lib.new_cell('npn13G2L$2')
A(npn13g2l_2, Activ_drawing, 3.77, 2.82, 0.26, 2.56, 3, 1, 2.8, 0)
R(npn13g2l_2, Activ_drawing, [(2.5,2.82,3.16,5.38), (4.64,2.82,5.3,5.38), (5.3,2.82,5.96,5.38), (7.44,2.82,8.1,5.38), (8.1,2.82,8.76,5.38), (10.24,2.82,10.9,5.38)])
P(npn13g2l_2, Activ_drawing, [(0.2,0.2),(0.2,7.5),(0.7,7.5),(0.7,0.7),(12.7,0.7),(12.7,7.5),(0.2,7.5),(0.2,8),(13.2,8),(13.2,0.2)])
R(npn13g2l_2, Activ_mask, [(3.16,2.82,3.77,5.38), (4.03,2.82,4.64,5.38), (5.96,2.82,6.57,5.38), (6.83,2.82,7.44,5.38), (8.76,2.82,9.37,5.38), (9.63,2.82,10.24,5.38)])
A(npn13g2l_2, Cont_drawing, 3.385, 2.89, 0.16, 0.16, 1, 7, 0, 0.34)
A(npn13g2l_2, Cont_drawing, 4.255, 2.89, 0.16, 0.16, 1, 7, 0, 0.34)
A(npn13g2l_2, Cont_drawing, 6.185, 2.89, 0.16, 0.16, 1, 7, 0, 0.34)
A(npn13g2l_2, Cont_drawing, 7.055, 2.89, 0.16, 0.16, 1, 7, 0, 0.34)
A(npn13g2l_2, Cont_drawing, 8.985, 2.89, 0.16, 0.16, 1, 7, 0, 0.34)
A(npn13g2l_2, Cont_drawing, 9.855, 2.89, 0.16, 0.16, 1, 7, 0, 0.34)
A(npn13g2l_2, Cont_drawing, 2.68, 2.95, 0.16, 2.3, 3, 1, 1.14, 0)
A(npn13g2l_2, Cont_drawing, 5.48, 2.95, 0.16, 2.3, 3, 1, 1.14, 0)
A(npn13g2l_2, Cont_drawing, 8.28, 2.95, 0.16, 2.3, 3, 1, 1.14, 0)
A(npn13g2l_2, Metal1_drawing, 3.385, 1.45, 1.03, 0.65, 3, 1, 2.8, 0)
A(npn13g2l_2, Metal1_drawing, 3.77, 2.9, 0.26, 2.4, 3, 1, 2.8, 0)
A(npn13g2l_2, Metal1_drawing, 2.5, 6.1, 2.8, 0.65, 3, 1, 2.8, 0)
R(npn13g2l_2, Metal1_drawing, [(4.415,1.45,6.185,2.1), (7.215,1.45,8.985,2.1), (3.385,2.1,3.545,5.38), (4.255,2.1,4.415,5.38), (6.185,2.1,6.345,5.38), (7.055,2.1,7.215,5.38), (8.985,2.1,9.145,5.38), (9.855,2.1,10.015,5.38), (2.5,2.82,2.89,6.1), (4.91,2.82,5.3,6.1), (5.3,2.82,5.69,6.1), (7.71,2.82,8.1,6.1), (8.1,2.82,8.49,6.1), (10.51,2.82,10.9,6.1)])
R(npn13g2l_2, Metal1_pin, [(3.385,1.45,10.015,2.1), (2.5,6.1,10.9,6.75)])
A(npn13g2l_2, Metal2_drawing, 2.5, 2.9, 2.8, 2.4, 3, 1, 2.8, 0)
R(npn13g2l_2, Metal2_pin, [(2.5,2.9,10.9,5.3)])
P(npn13g2l_2, pSD_drawing, [(0,0),(0,7.3),(0.9,7.3),(0.9,0.9),(12.5,0.9),(12.5,7.3),(0,7.3),(0,8.2),(13.4,8.2),(13.4,0)])
A(npn13g2l_2, Via1_drawing, 3.805, 3, 0.19, 2.2, 3, 1, 2.8, 0)
R(npn13g2l_2, TRANS_drawing, [(0.9,0.9,12.5,7.3)])
A(npn13g2l_2, EmWind_drawing, 3.865, 3.1, 0.07, 2, 3, 1, 2.8, 0)
A(npn13g2l_2, HeatTrans_drawing, 3.815, 3.05, 0.17, 2.1, 3, 1, 2.8, 0)
npn13g2l_2.add(gdstk.Label('Ae=3*1*2.00*0.07', (1.5,1), layer=63, texttype=0))
npn13g2l_2.add(gdstk.Label('npn13G2L', (1.75,1), layer=63, texttype=0))
npn13g2l_2.add(gdstk.Label('C', (6.7,6.425), layer=63, texttype=0))
npn13g2l_2.add(gdstk.Label('B', (6.7,1.775), layer=63, texttype=0))
npn13g2l_2.add(gdstk.Label('E', (6.7,4.1), layer=63, texttype=0))
npn13g2l_2.add(gdstk.Label('npn13G2L', (3.9,4.1), layer=51, texttype=0))

npn13g2v = lib.new_cell('npn13G2V')
A(npn13g2v, Activ_drawing, 3.74, 2.82, 0.26, 3.56, 7, 1, 2.34, 0)
R(npn13g2v, Activ_drawing, [(2.7,2.82,3.105,6.38), (4.635,2.82,5.04,6.38), (5.04,2.82,5.445,6.38), (6.975,2.82,7.38,6.38), (7.38,2.82,7.785,6.38), (9.315,2.82,9.72,6.38), (9.72,2.82,10.125,6.38), (11.655,2.82,12.06,6.38), (12.06,2.82,12.465,6.38), (13.995,2.82,14.4,6.38), (14.4,2.82,14.805,6.38), (16.335,2.82,16.74,6.38), (16.74,2.82,17.145,6.38), (18.675,2.82,19.08,6.38)])
P(npn13g2v, Activ_drawing, [(0.2,0.2),(0.2,8.5),(0.7,8.5),(0.7,0.7),(21.08,0.7),(21.08,8.5),(0.2,8.5),(0.2,9),(21.58,9),(21.58,0.2)])
R(npn13g2v, Activ_mask, [(3.105,2.82,3.74,6.38), (4,2.82,4.635,6.38), (5.445,2.82,6.08,6.38), (6.34,2.82,6.975,6.38), (7.785,2.82,8.42,6.38), (8.68,2.82,9.315,6.38), (10.125,2.82,10.76,6.38), (11.02,2.82,11.655,6.38), (12.465,2.82,13.1,6.38), (13.36,2.82,13.995,6.38), (14.805,2.82,15.44,6.38), (15.7,2.82,16.335,6.38), (17.145,2.82,17.78,6.38), (18.04,2.82,18.675,6.38)])
A(npn13g2v, Cont_drawing, 2.8, 2.89, 0.16, 0.16, 1, 10, 0, 0.34)
A(npn13g2v, Cont_drawing, 3.35, 2.89, 0.16, 0.16, 1, 10, 0, 0.34)
A(npn13g2v, Cont_drawing, 4.23, 2.89, 0.16, 0.16, 1, 10, 0, 0.34)
A(npn13g2v, Cont_drawing, 4.78, 2.89, 0.16, 0.16, 1, 10, 0, 0.34)
A(npn13g2v, Cont_drawing, 5.14, 2.89, 0.16, 0.16, 1, 10, 0, 0.34)
A(npn13g2v, Cont_drawing, 5.69, 2.89, 0.16, 0.16, 1, 10, 0, 0.34)
A(npn13g2v, Cont_drawing, 6.57, 2.89, 0.16, 0.16, 1, 10, 0, 0.34)
A(npn13g2v, Cont_drawing, 7.12, 2.89, 0.16, 0.16, 1, 10, 0, 0.34)
A(npn13g2v, Cont_drawing, 7.48, 2.89, 0.16, 0.16, 1, 10, 0, 0.34)
A(npn13g2v, Cont_drawing, 8.03, 2.89, 0.16, 0.16, 1, 10, 0, 0.34)
A(npn13g2v, Cont_drawing, 8.91, 2.89, 0.16, 0.16, 1, 10, 0, 0.34)
A(npn13g2v, Cont_drawing, 9.46, 2.89, 0.16, 0.16, 1, 10, 0, 0.34)
A(npn13g2v, Cont_drawing, 9.82, 2.89, 0.16, 0.16, 1, 10, 0, 0.34)
A(npn13g2v, Cont_drawing, 10.37, 2.89, 0.16, 0.16, 1, 10, 0, 0.34)
A(npn13g2v, Cont_drawing, 11.25, 2.89, 0.16, 0.16, 1, 10, 0, 0.34)
A(npn13g2v, Cont_drawing, 11.8, 2.89, 0.16, 0.16, 1, 10, 0, 0.34)
A(npn13g2v, Cont_drawing, 12.16, 2.89, 0.16, 0.16, 1, 10, 0, 0.34)
A(npn13g2v, Cont_drawing, 12.71, 2.89, 0.16, 0.16, 1, 10, 0, 0.34)
A(npn13g2v, Cont_drawing, 13.59, 2.89, 0.16, 0.16, 1, 10, 0, 0.34)
A(npn13g2v, Cont_drawing, 14.14, 2.89, 0.16, 0.16, 1, 10, 0, 0.34)
A(npn13g2v, Cont_drawing, 14.5, 2.89, 0.16, 0.16, 1, 10, 0, 0.34)
A(npn13g2v, Cont_drawing, 15.05, 2.89, 0.16, 0.16, 1, 10, 0, 0.34)
A(npn13g2v, Cont_drawing, 15.93, 2.89, 0.16, 0.16, 1, 10, 0, 0.34)
A(npn13g2v, Cont_drawing, 16.48, 2.89, 0.16, 0.16, 1, 10, 0, 0.34)
A(npn13g2v, Cont_drawing, 16.84, 2.89, 0.16, 0.16, 1, 10, 0, 0.34)
A(npn13g2v, Cont_drawing, 17.39, 2.89, 0.16, 0.16, 1, 10, 0, 0.34)
A(npn13g2v, Cont_drawing, 18.27, 2.89, 0.16, 0.16, 1, 10, 0, 0.34)
A(npn13g2v, Cont_drawing, 18.82, 2.89, 0.16, 0.16, 1, 10, 0, 0.34)
A(npn13g2v, Cont_drawing, 3.79, 3.04, 0.16, 3.12, 7, 1, 2.34, 0)
A(npn13g2v, Metal1_drawing, 3.345, 1.45, 1.05, 0.65, 7, 1, 2.34, 0)
A(npn13g2v, Metal1_drawing, 4.395, 1.45, 1.29, 0.65, 6, 1, 2.34, 0)
A(npn13g2v, Metal1_drawing, 3.74, 2.82, 0.26, 3.56, 7, 1, 2.34, 0)
A(npn13g2v, Metal1_drawing, 2.7, 7.1, 2.34, 0.65, 7, 1, 2.34, 0)
R(npn13g2v, Metal1_drawing, [(3.345,2.1,3.515,6.38), (4.225,2.1,4.395,6.38), (5.685,2.1,5.855,6.38), (6.565,2.1,6.735,6.38), (8.025,2.1,8.195,6.38), (8.905,2.1,9.075,6.38), (10.365,2.1,10.535,6.38), (11.245,2.1,11.415,6.38), (12.705,2.1,12.875,6.38), (13.585,2.1,13.755,6.38), (15.045,2.1,15.215,6.38), (15.925,2.1,16.095,6.38), (17.385,2.1,17.555,6.38), (18.265,2.1,18.435,6.38), (2.7,2.82,3.02,7.1), (4.72,2.82,5.04,7.1), (5.04,2.82,5.36,7.1), (7.06,2.82,7.38,7.1), (7.38,2.82,7.7,7.1), (9.4,2.82,9.72,7.1), (9.72,2.82,10.04,7.1), (11.74,2.82,12.06,7.1), (12.06,2.82,12.38,7.1), (14.08,2.82,14.4,7.1), (14.4,2.82,14.72,7.1), (16.42,2.82,16.74,7.1), (16.74,2.82,17.06,7.1), (18.76,2.82,19.08,7.1)])
R(npn13g2v, Metal1_pin, [(3.345,1.45,18.435,2.1), (2.7,7.1,19.08,7.75)])
A(npn13g2v, Metal2_drawing, 2.7, 2.82, 2.34, 3.56, 7, 1, 2.34, 0)
R(npn13g2v, Metal2_pin, [(2.7,2.82,19.08,6.38)])
P(npn13g2v, pSD_drawing, [(0,0),(0,8.3),(0.9,8.3),(0.9,0.9),(20.88,0.9),(20.88,8.3),(0,8.3),(0,9.2),(21.78,9.2),(21.78,0)])
A(npn13g2v, Via1_drawing, 3.775, 2.87, 0.19, 0.19, 7, 9, 2.34, 0.41)
R(npn13g2v, TRANS_drawing, [(0.9,0.9,20.88,8.3)])
A(npn13g2v, HeatTrans_drawing, 3.76, 3.05, 0.22, 3.1, 7, 1, 2.34, 0)
A(npn13g2v, EmWiHV_drawing, 3.81, 3.1, 0.12, 3, 7, 1, 2.34, 0)
npn13g2v.add(gdstk.Label('Ae=7*3.00*0.12', (1.5,1), layer=63, texttype=0))
npn13g2v.add(gdstk.Label('npn13G2V', (1.75,1), layer=63, texttype=0))
npn13g2v.add(gdstk.Label('C', (10.89,7.425), layer=63, texttype=0))
npn13g2v.add(gdstk.Label('B', (10.89,1.775), layer=63, texttype=0))
npn13g2v.add(gdstk.Label('E', (10.89,4.6), layer=63, texttype=0))
npn13g2v.add(gdstk.Label('npn13G2V', (3.87,4.6), layer=51, texttype=0))

npn_adv = lib.new_cell('npn_adv')
npn_adv.add(gdstk.FlexPath([(18.465,42.03),(5.44,42.03)], 0.25, ends="flush", simple_path=True, layer=8, datatype=0))  # Metal1_drawing
npn_adv.add(gdstk.FlexPath([(19.255,38.185),(4.81,38.185)], 0.25, ends="flush", simple_path=True, layer=8, datatype=0))  # Metal1_drawing
npn_adv.add(gdstk.FlexPath([(43.81,43.46),(84.2,43.46)], 0.25, ends="flush", simple_path=True, layer=8, datatype=0))  # Metal1_drawing
npn_adv.add(gdstk.FlexPath([(84.935,38.31),(43.385,38.31)], 0.25, ends="flush", simple_path=True, layer=8, datatype=0))  # Metal1_drawing
npn_adv.add(gdstk.FlexPath([(49.355,63.56),(90.72,63.56)], 0.25, ends="flush", simple_path=True, layer=8, datatype=0))  # Metal1_drawing
npn_adv.add(gdstk.FlexPath([(18.465,59.66),(5.44,59.66)], 0.25, ends="flush", simple_path=True, layer=8, datatype=0))  # Metal1_drawing
npn_adv.add(gdstk.FlexPath([(19.255,55.815),(4.81,55.815)], 0.25, ends="flush", simple_path=True, layer=8, datatype=0))  # Metal1_drawing
npn_adv.add(gdstk.FlexPath([(48.9,55.91),(91.055,55.91)], 0.25, ends="flush", simple_path=True, layer=8, datatype=0))  # Metal1_drawing
npn_adv.add(gdstk.FlexPath([(18.705,40.155),(5.735,40.155)], 0.25, ends="flush", simple_path=True, layer=10, datatype=0))  # Metal2_drawing
npn_adv.add(gdstk.FlexPath([(83.99,40.95),(44.025,40.95)], 0.25, ends="flush", simple_path=True, layer=10, datatype=0))  # Metal2_drawing
npn_adv.add(gdstk.FlexPath([(90.675,59.66),(49.07,59.66)], 0.25, ends="flush", simple_path=True, layer=10, datatype=0))  # Metal2_drawing
npn_adv.add(gdstk.FlexPath([(18.705,57.785),(5.735,57.785)], 0.25, ends="flush", simple_path=True, layer=10, datatype=0))  # Metal2_drawing
npn_adv.add(gdstk.Reference(npn13g2l_1, (39.115,36.55)))
npn_adv.add(gdstk.Reference(npn13g2l_1, (53.835,36.535)))
npn_adv.add(gdstk.Reference(npn13g2_2, (4.175,5.78)))
npn_adv.add(gdstk.Reference(npn13g2, (19.95,5.78)))
npn_adv.add(gdstk.Reference(npn13g2_3, (43.8,5.78)))
npn_adv.add(gdstk.Reference(npn13g2_4, (72.005,5.78)))
npn_adv.add(gdstk.Reference(npn13g2l_1, (66.59,36.55)))
npn_adv.add(gdstk.Reference(npn13g2l_1, (81.31,36.535)))
npn_adv.add(gdstk.Reference(npn13g2v_1, (-1.09,54.1)))
npn_adv.add(gdstk.Reference(npn13g2v_1, (15.435,54.1)))
npn_adv.add(gdstk.Reference(npn13g2v_2, (37.825,54.1)))
npn_adv.add(gdstk.Reference(npn13g2v_2, (63.28,54.1)))
npn_adv.add(gdstk.Reference(npn13g2v_2, (87.33,54.1)))
npn_adv.add(gdstk.Reference(npn13g2l, (15.545,36.535)))
npn_adv.add(gdstk.Reference(npn13g2l, (0.825,36.55)))
npn_adv.add(gdstk.Reference(npn13g2l_2, (1.135,20.165)))
npn_adv.add(gdstk.Reference(npn13g2v, (41.245,19.83)))

lib.write_gds('npn_adv.gds')
